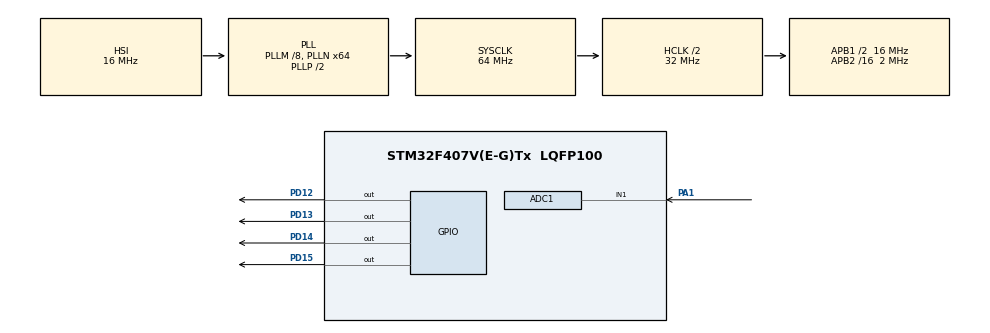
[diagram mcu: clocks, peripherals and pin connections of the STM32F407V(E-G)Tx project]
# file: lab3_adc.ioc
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ADC1.Channel-2\#ChannelRegularConversion=ADC_CHANNEL_1
ADC1.ClockPrescaler=ADC_CLOCK_SYNC_PCLK_DIV2
ADC1.EnableAnalogWatchDog=false
ADC1.InjNumberOfConversion=0
ADC1.NbrOfConversionFlag=1
ADC1.Rank-2\#ChannelRegularConversion=1
ADC1.SamplingTime-2\#ChannelRegularConversion=ADC_SAMPLETIME_3CYCLES
ADC1.master=1
Mcu.Family=STM32F4
Mcu.Name=STM32F407V(E-G)Tx
Mcu.Package=LQFP100
NVIC.PriorityGroup=NVIC_PRIORITYGROUP_0
PA1.Signal=ADCx_IN1
PD12.Signal=GPIO_Output
PD13.Signal=GPIO_Output
PD14.Signal=GPIO_Output
PD15.Signal=GPIO_Output
PH0-OSC_IN.Mode=HSE-External-Oscillator
PH0-OSC_IN.Signal=RCC_OSC_IN
PH1-OSC_OUT.Mode=HSE-External-Oscillator
PH1-OSC_OUT.Signal=RCC_OSC_OUT
ProjectManager.HeapSize=0x200
ProjectManager.StackSize=0x400
ProjectManager.TargetToolchain=STM32CubeIDE
RCC.48MHZClocksFreq_Value=18285714.285714287
RCC.AHBCLKDivider=RCC_SYSCLK_DIV2
RCC.AHBFreq_Value=32000000
RCC.APB1CLKDivider=RCC_HCLK_DIV2
RCC.APB1Freq_Value=16000000
RCC.APB1TimFreq_Value=32000000
RCC.APB2CLKDivider=RCC_HCLK_DIV16
RCC.APB2Freq_Value=2000000
RCC.APB2TimFreq_Value=4000000
RCC.CortexFreq_Value=32000000
RCC.HCLKFreq_Value=32000000
RCC.HSE_VALUE=8000000
RCC.HSI_VALUE=16000000
RCC.LSE_VALUE=32768
RCC.PLLM=8
RCC.PLLN=64
RCC.PLLQ=7
RCC.SYSCLKFreq_VALUE=64000000
RCC.SYSCLKSource=RCC_SYSCLKSOURCE_PLLCLK
RCC.VCOOutputFreq_Value=128000000
SH.ADCx_IN1.0=ADC1_IN1,IN1
board=STM32F407G-DISC1

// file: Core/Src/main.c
/* USER CODE BEGIN Header */
/**
  ******************************************************************************
  * @file           : main.c
  * @brief          : Main program body
  ******************************************************************************
  * @attention
  *
  * Copyright (c) 2024 STMicroelectronics.
  * All rights reserved.
  *
  * This software is licensed under terms that can be found in the LICENSE file
  * in the root directory of this software component.
  * If no LICENSE file comes with this software, it is provided AS-IS.
  *
  ******************************************************************************
  */
/* USER CODE END Header */
#include "main.h"
#include "adc.h"
#include "gpio.h"

void SystemClock_Config(void);

int main(void)
{
  /* USER CODE BEGIN 1 */
  unsigned short int volt;
  /* USER CODE END 1 */

  /* MCU Configuration--------------------------------------------------------*/

  /* Reset of all peripherals, Initializes the Flash interface and the Systick. */
  HAL_Init();

  /* Configure the system clock */
  SystemClock_Config();

  /* Initialize all configured peripherals */
  MX_GPIO_Init();
  MX_ADC1_Init();

  /* Infinite loop */
  /* USER CODE BEGIN WHILE */
  while (1)
  {
	if(HAL_ADC_Start(&hadc1)!=HAL_OK){
		//ken fonction type de retour mech void ntestiw aliha fel declaration ykolli return status
		Error_Handler();
	}
	//calcul:Ttot=(Tsample+Tconv)=(3+12)*0.5=7.5micro secondes nhottou 1 khater parametre theny entier ou hedheka l minimum
	if(HAL_ADC_PollForConversion(&hadc1,1)!=HAL_OK){

		Error_Handler();
	}
	if(HAL_ADC_Stop(&hadc1)!=HAL_OK){
		Error_Handler();

	}
	volt=(unsigned short int)HAL_ADC_GetValue(&hadc1);
	if(volt>4000){
		HAL_GPIO_WritePin(GPIOD,GPIO_PIN_12,GPIO_PIN_SET);
		HAL_GPIO_WritePin(GPIOD,GPIO_PIN_13,GPIO_PIN_SET);
		HAL_GPIO_WritePin(GPIOD,GPIO_PIN_14,GPIO_PIN_SET);
		HAL_GPIO_WritePin(GPIOD,GPIO_PIN_15,GPIO_PIN_SET);

	}
	else if((volt>3000) && (volt<=4000)){
		HAL_GPIO_WritePin(GPIOD,GPIO_PIN_12,GPIO_PIN_SET);
		HAL_GPIO_WritePin(GPIOD,GPIO_PIN_13,GPIO_PIN_SET);
		HAL_GPIO_WritePin(GPIOD,GPIO_PIN_14,GPIO_PIN_SET);
		HAL_GPIO_WritePin(GPIOD,GPIO_PIN_15,GPIO_PIN_RESET);

	}
	else if((volt>2000) && (volt<=3000)){
		HAL_GPIO_WritePin(GPIOD,GPIO_PIN_12,GPIO_PIN_SET);
		HAL_GPIO_WritePin(GPIOD,GPIO_PIN_13,GPIO_PIN_SET);
		HAL_GPIO_WritePin(GPIOD,GPIO_PIN_14,GPIO_PIN_RESET);
		HAL_GPIO_WritePin(GPIOD,GPIO_PIN_15,GPIO_PIN_RESET);

	}
	else{
		HAL_GPIO_WritePin(GPIOD,GPIO_PIN_12,GPIO_PIN_SET);
		HAL_GPIO_WritePin(GPIOD,GPIO_PIN_13,GPIO_PIN_RESET);
		HAL_GPIO_WritePin(GPIOD,GPIO_PIN_14,GPIO_PIN_RESET);
		HAL_GPIO_WritePin(GPIOD,GPIO_PIN_15,GPIO_PIN_RESET);

	}
    /* USER CODE END WHILE */

  }
}

void SystemClock_Config(void)
{
  RCC_OscInitTypeDef RCC_OscInitStruct = {0};
  RCC_ClkInitTypeDef RCC_ClkInitStruct = {0};

  /** Configure the main internal regulator output voltage
  */
  __HAL_RCC_PWR_CLK_ENABLE();
  __HAL_PWR_VOLTAGESCALING_CONFIG(PWR_REGULATOR_VOLTAGE_SCALE1);

  /** Initializes the RCC Oscillators according to the specified parameters
  * in the RCC_OscInitTypeDef structure.
  */
  RCC_OscInitStruct.OscillatorType = RCC_OSCILLATORTYPE_HSI;
  RCC_OscInitStruct.HSIState = RCC_HSI_ON;
  RCC_OscInitStruct.HSICalibrationValue = RCC_HSICALIBRATION_DEFAULT;
  RCC_OscInitStruct.PLL.PLLState = RCC_PLL_ON;
  RCC_OscInitStruct.PLL.PLLSource = RCC_PLLSOURCE_HSI;
  RCC_OscInitStruct.PLL.PLLM = 8;
  RCC_OscInitStruct.PLL.PLLN = 64;
  RCC_OscInitStruct.PLL.PLLP = RCC_PLLP_DIV2;
  RCC_OscInitStruct.PLL.PLLQ = 7;
  if (HAL_RCC_OscConfig(&RCC_OscInitStruct) != HAL_OK)
  {
    Error_Handler();
  }

  /** Initializes the CPU, AHB and APB buses clocks
  */
  RCC_ClkInitStruct.ClockType = RCC_CLOCKTYPE_HCLK|RCC_CLOCKTYPE_SYSCLK
                              |RCC_CLOCKTYPE_PCLK1|RCC_CLOCKTYPE_PCLK2;
  RCC_ClkInitStruct.SYSCLKSource = RCC_SYSCLKSOURCE_PLLCLK;
  RCC_ClkInitStruct.AHBCLKDivider = RCC_SYSCLK_DIV2;
  RCC_ClkInitStruct.APB1CLKDivider = RCC_HCLK_DIV2;
  RCC_ClkInitStruct.APB2CLKDivider = RCC_HCLK_DIV16;

  if (HAL_RCC_ClockConfig(&RCC_ClkInitStruct, FLASH_LATENCY_1) != HAL_OK)
  {
    Error_Handler();
  }
}

void Error_Handler(void)
{
  __disable_irq();
  while (1)
  {
  }
}
